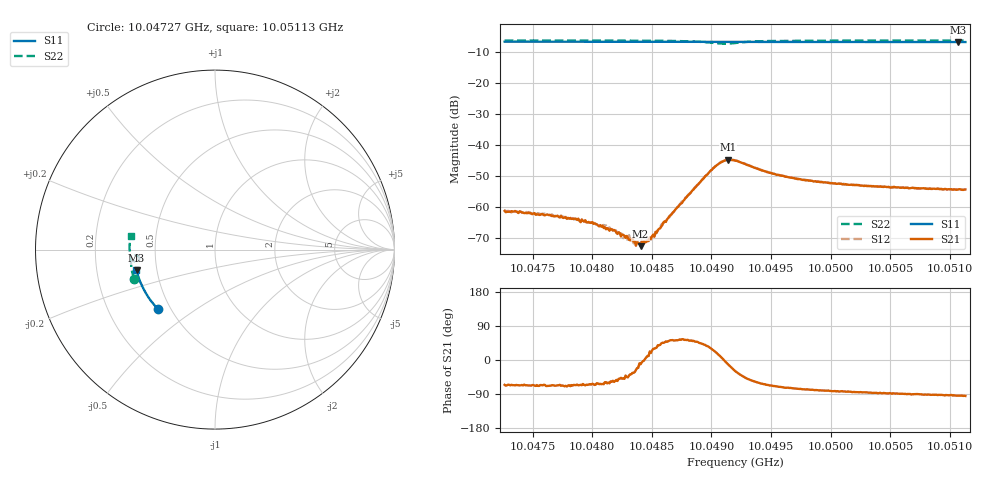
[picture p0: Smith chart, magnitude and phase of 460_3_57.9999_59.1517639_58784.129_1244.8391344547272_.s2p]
#  HZ  S  RI  R  50.00
! Rohde & Schwarz Vector Network Analyzer
! Rohde-Schwarz,ZNB20-2Port,1311601062101988,3.16
! Created: UTC 3/21/2024, 1:10:56 AM
! freq[Hz]  re:S11  im:S11  re:S21  im:S21  re:S12  im:S12  re:S22  im:S22
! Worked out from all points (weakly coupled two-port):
!   401 points, 10.04727 GHz to 10.05113 GHz, reference 50 ohm
!   highest |S21| = -44.78 dB at 10.04914 GHz (marker M1); lowest = -72.6 dB at 10.04841 GHz (marker M2)
!   lowest |S11| = -6.9 dB at 10.05107 GHz (marker M3), VSWR 2.65, Z = 19.1 - j5.54 ohm
!   |S11| at or under -10 dB: nowhere
!   |S22| runs from -7.4 to -6.4 dB; largest |S21 - S12| = 0.00045
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1.0047266e10  -0.3179 -0.331  0.000357 -0.000787  0.000426 -0.000787  -0.4505 -0.1642
1.0047633e10  -0.3343 -0.3132  0.000275 -0.00069  0.000357 -0.000647  -0.4576 -0.1404
1.0047913e10  -0.3461 -0.299  0.000251 -0.000577  0.000304 -0.000519  -0.4622 -0.1212
1.0048019e10  -0.3506 -0.2935  0.000221 -0.000494  0.000283 -0.00047  -0.4637 -0.1137
1.0048106e10  -0.354 -0.2891  0.000245 -0.000401  0.000256 -0.000425  -0.4649 -0.1075
1.0048212e10  -0.3584 -0.2835  0.000209 -0.000302  0.000247 -0.000288  -0.4662 -0.0999
1.004828e10  -0.3609 -0.2801  0.000241 -0.000209  0.000253 -0.00022  -0.4665 -0.0946
1.0048386e10  -0.3651 -0.2742  0.000247 -9.37e-05  0.000275 -5.1e-05  -0.4677 -0.0864
1.0048405e10  -0.3658 -0.2732  0.000229 -4.6e-05  0.000247 -1.61e-05  -0.4677 -0.0847
1.0048444e10  -0.3673 -0.2711  0.000267 1.54e-05  0.000275 4.03e-05  -0.4678 -0.0817
1.0048483e10  -0.3688 -0.2689  0.000299 0.000124  0.000281 0.000102  -0.4679 -0.0784
1.004856e10  -0.3716 -0.2648  0.000346 0.000279  0.000327 0.000304  -0.468 -0.0717
1.0048763e10  -0.3788 -0.2536  0.000717 0.00102  0.000709 0.00106  -0.4646 -0.0523
1.0048994e10  -0.3863 -0.2403  0.0033 0.00198  0.00318 0.00216  -0.44 -0.0315
1.0049071e10  -0.3887 -0.236  0.00504 0.000944  0.00501 0.00122  -0.4249 -0.039
1.0049139e10  -0.3909 -0.2325  0.00565 -0.00115  0.00572 -0.000806  -0.4227 -0.0554
1.0049197e10  -0.3928 -0.2293  0.00487 -0.00269  0.00514 -0.00237  -0.4318 -0.0654
1.0049535e10  -0.4032 -0.2097  0.00119 -0.00314  0.00138 -0.00309  -0.4694 -0.0429
1.0049844e10  -0.4117 -0.1912  0.000538 -0.00258  0.000664 -0.00258  -0.475 -0.016
1.0050491e10  -0.427 -0.1518  9.74e-05 -0.00209  0.000205 -0.00206  -0.4753 0.0314
1.005107e10  -0.4371 -0.1152  -0.00012 -0.00191  -1.8e-05 -0.00191  -0.4707 0.0707
1.0051128e10  -0.4381 -0.1115  -0.000161 -0.00191  -1.51e-05 -0.0019  -0.4703 0.0746
